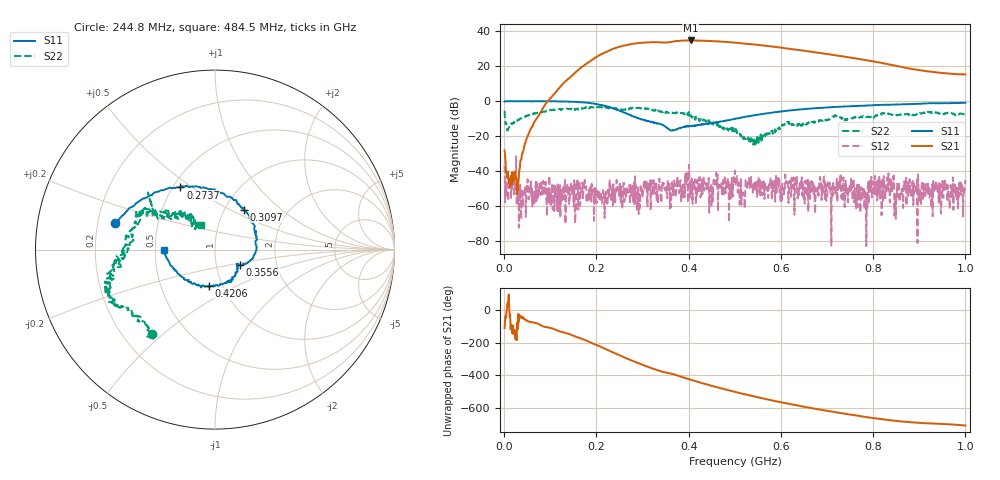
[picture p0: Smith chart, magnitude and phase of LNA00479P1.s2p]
! Created with skrf 1.9.0 (http://scikit-rf.org).
# Hz S RI R 50.0
!freq ReS11 ImS11 ReS21 ImS21 ReS12 ImS12 ReS22 ImS22
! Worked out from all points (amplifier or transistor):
!   1001 points, 1 MHz to 1 GHz, reference 50 ohm
!   highest |S21| = 34.8 dB at 404.6 MHz (marker M1)
!   |S21| within 3 dB of that: 258.7 MHz to 565.9 MHz (307.2 MHz wide, 74.5 % of centre)
!   unconditionally stable (mu >= 1): 187.2 MHz to 283.6 MHz; 283.9 MHz to 400.3 MHz; 401.1 MHz to end of sweep (the widest 3 of 48)
!   at 166.8 MHz: K = 0.68, MSG = 34.4 dB, |S12| = -49.5 dB
!   at 500.5 MHz: K = 1.09, MAG = 34.8 dB, |S12| = -39.8 dB
!   at 1 GHz: K = 2.24, MAG = 23.9 dB, |S12| = -44.9 dB
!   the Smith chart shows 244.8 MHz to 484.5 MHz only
!   S11 on the Smith chart (normalised r, x): 244.8 MHz: 0.27, +0.12; 273.7 MHz: 0.55, +0.45; 309.7 MHz: 1.23, +0.59; 355.6 MHz: 1.30, -0.23; 420.6 MHz: 0.86, -0.36; 484.5 MHz: 0.55, -0.00
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1000000  0.9803 0.00812  -0.0137 -0.0365  -0.0121 0.00825  0.3976 0.3532
1.08892e8  0.5332 -0.8422  -0.7762 -1.45  -0.000509 -0.00052  0.4301 -0.3726
1.67833e8  -0.2097 -0.9121  -9.422 -0.6699  -0.00227 0.00153  0.0318 -0.6281
2.1079e8  -0.6722 -0.3958  -15.28 16.23  0.00131 -0.000394  -0.2227 -0.6438
2.44756e8  -0.5545 0.1503  0.1416 34.73  -0.00502 6.04e-05  -0.3499 -0.4727
2.73727e8  -0.1924 0.3462  25.2 34.48  0.00291 -0.00343  -0.5749 -0.2982
3.09691e8  0.1608 0.2224  46.97 11.81  -0.0018 -0.00163  -0.6039 -0.1612
3.34666e8  0.2312 0.00981  48.15 -8.567  0.000164 0.00211  -0.5191 -0.0304
3.55645e8  0.1383 -0.0863  44.05 -20.51  -0.000885 0.00263  -0.4608 0.0756
3.75625e8  0.1274 -0.1015  40.53 -34.58  0.00165 0.00685  -0.4375 0.1918
4.04596e8  0.0471 -0.1898  21.92 -50.31  0.00167 0.00286  -0.3216 0.1942
4.2058e8  -0.0351 -0.2026  9.304 -53.63  0.00372 0.000906  -0.258 0.1815
4.49551e8  -0.1727 -0.1622  -11.64 -51.26  -0.00102 -0.000118  -0.1308 0.1899
4.84516e8  -0.2866 -0.00275  -31.11 -38.6  0.00582 0.00268  -0.0798 0.1379
5.005e8  -0.3074 0.0834  -36.68 -30.42  0.00399 0.00948  -0.0843 0.134
5.4046e8  -0.2529 0.3018  -41.06 -9.445  0.00178 -0.00322  -0.0564 0.0101
5.88412e8  -0.0689 0.4832  -34.25 10.44  0.00118 -0.00319  -0.1297 -0.0687
6.28372e8  0.1195 0.5521  -23.59 19.25  0.00216 -0.00446  -0.1899 -0.092
6.67333e8  0.3062 0.5433  -12.84 22.33  -0.000513 -0.00264  -0.2538 -0.0335
7.53247e8  0.6109 0.3892  3.128 17.25  -0.00387 -8.61e-05  -0.3237 0.044
8.34166e8  0.7809 0.1713  7.647 8.4  0.00458 0.00276  -0.4091 0.1354
1e9  0.8289 -0.3636  5.67 1.503  -0.00551 0.00143  -0.1195 0.4335
